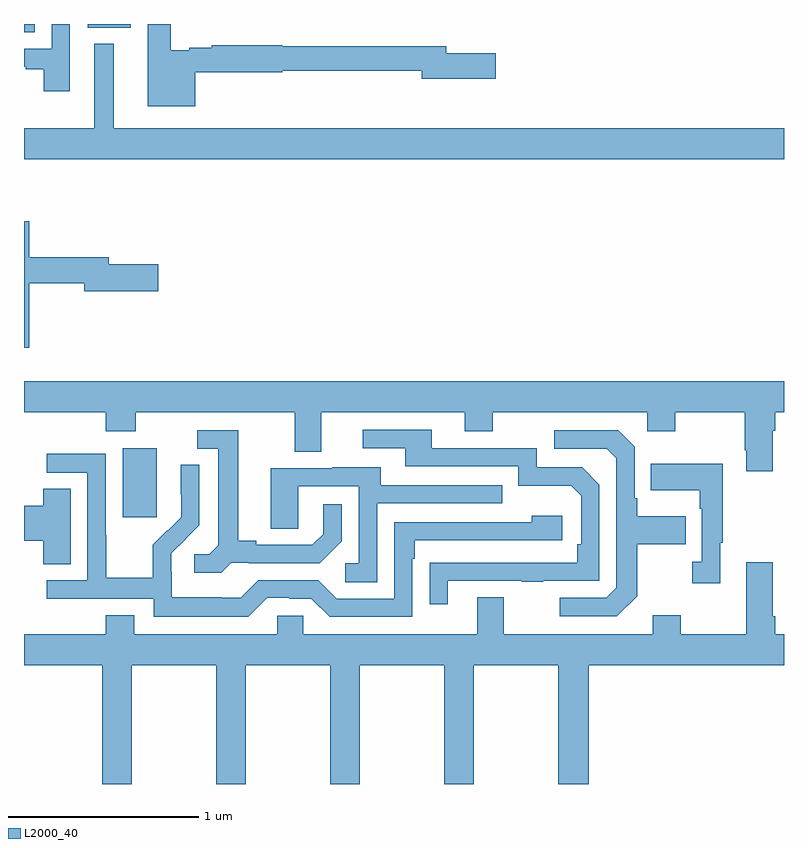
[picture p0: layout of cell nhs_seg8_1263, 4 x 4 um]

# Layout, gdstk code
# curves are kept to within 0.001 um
import gdstk
lib = gdstk.Library(unit=1e-6, precision=1e-09)
def R(c, l, rs):  # rectangles x0, y0, x1, y1
    for r in rs: c.add(gdstk.rectangle(r[:2], r[2:], *l))
def P(c, l, *ps):  # polygons
    for p in ps: c.add(gdstk.Polygon(p, *l))
L2000_40 = (2000, 40)

nhs_seg8_1263 = lib.new_cell('nhs_seg8_1263')
R(nhs_seg8_1263, L2000_40, [(191.519,1093.305,191.698,1093.666), (191,1095.856,191.056,1095.9), (191.336,1095.881,191.563,1095.9)])
P(nhs_seg8_1263, L2000_40, [(191.241,1095.9),(191.145,1095.9),(191.145,1095.771),(191,1095.771),(191,1095.675),(191.009,1095.675),(191.009,1095.663),(191.105,1095.663),(191.105,1095.546),(191.241,1095.546)],
  [(191.902,1095.646),(192.36,1095.646),(192.36,1095.654),(193.094,1095.654),(193.094,1095.611),(193.483,1095.611),(193.483,1095.746),(193.222,1095.746),(193.222,1095.782),(192.36,1095.782),(192.36,1095.788),(191.988,1095.788),(191.988,1095.776),(191.87,1095.776),(191.87,1095.763),(191.773,1095.763),(191.773,1095.9),(191.651,1095.9),(191.651,1095.467),(191.902,1095.467)],
  [(195,1095.352),(191.473,1095.352),(191.473,1095.796),(191.369,1095.796),(191.369,1095.352),(191,1095.352),(191,1095.188),(195,1095.188)],
  [(191.027,1094.536),(191.318,1094.536),(191.318,1094.494),(191.707,1094.494),(191.707,1094.636),(191.446,1094.636),(191.446,1094.672),(191.027,1094.672),(191.027,1094.863),(191,1094.863),(191,1094.196),(191.027,1094.196)],
  [(194.941,1093.76),(194.954,1093.76),(194.954,1093.856),(195,1093.856),(195,1094.02),(191,1094.02),(191,1093.856),(191.429,1093.856),(191.429,1093.757),(191.589,1093.757),(191.589,1093.856),(192.425,1093.856),(192.425,1093.648),(192.565,1093.648),(192.565,1093.856),(193.319,1093.856),(193.319,1093.757),(193.467,1093.757),(193.467,1093.856),(194.28,1093.856),(194.28,1093.757),(194.427,1093.757),(194.427,1093.856),(194.794,1093.856),(194.794,1093.657),(194.801,1093.657),(194.801,1093.545),(194.941,1093.545)],
  [(193.231,1092.969),(193.621,1092.969),(193.621,1092.964),(193.733,1092.964),(193.733,1092.969),(194.028,1092.969),(194.028,1093.476),(193.938,1093.566),(193.698,1093.566),(193.698,1093.668),(193.147,1093.668),(193.147,1093.764),(192.783,1093.764),(192.783,1093.668),(193.007,1093.668),(193.007,1093.572),(193.602,1093.572),(193.602,1093.469),(193.879,1093.469),(193.932,1093.416),(193.932,1093.162),(193.912,1093.162),(193.912,1093.065),(193.135,1093.064),(193.135,1092.846),(193.231,1092.846)],
  [(192.09,1093.065),(192.184,1093.065),(192.184,1093.062),(192.556,1093.062),(192.672,1093.178),(192.672,1093.372),(192.575,1093.372),(192.575,1093.215),(192.518,1093.158),(192.223,1093.158),(192.223,1093.181),(192.127,1093.181),(192.127,1093.761),(191.913,1093.761),(191.913,1093.665),(192.023,1093.665),(192.023,1093.157),(191.976,1093.11),(191.895,1093.11),(191.895,1093.013),(192.038,1093.013)],
  [(194.227,1092.889),(194.227,1093.162),(194.483,1093.162),(194.483,1093.309),(194.227,1093.309),(194.227,1093.405),(194.214,1093.405),(194.214,1093.674),(194.127,1093.761),(193.791,1093.761),(193.791,1093.665),(194.067,1093.665),(194.118,1093.614),(194.118,1092.933),(194.064,1092.879),(193.821,1092.879),(193.821,1092.783),(194.121,1092.783)],
  [(192.279,1092.879),(192.395,1092.879),(192.395,1092.876),(192.513,1092.876),(192.609,1092.78),(193.044,1092.78),(193.044,1093.085),(193.057,1093.085),(193.057,1093.182),(193.834,1093.182),(193.834,1093.312),(193.673,1093.312),(193.673,1093.278),(192.948,1093.278),(192.948,1092.876),(192.645,1092.876),(192.549,1092.972),(192.234,1092.972),(192.141,1092.879),(192.041,1092.879),(192.041,1092.883),(191.778,1092.883),(191.778,1093.017),(191.776,1093.017),(191.776,1093.114),(191.922,1093.262),(191.922,1093.58),(191.826,1093.58),(191.826,1093.426),(191.828,1093.426),(191.828,1093.304),(191.757,1093.233),(191.754,1093.236),(191.677,1093.159),(191.677,1092.985),(191.433,1092.985),(191.433,1093.208),(191.43,1093.208),(191.43,1093.638),(191.121,1093.638),(191.121,1093.539),(191.334,1093.539),(191.334,1092.972),(191.121,1092.972),(191.121,1092.876),(191.682,1092.876),(191.682,1092.779),(192.179,1092.779)],
  [(194.665,1093.169),(194.677,1093.169),(194.677,1093.585),(194.299,1093.585),(194.299,1093.445),(194.556,1093.445),(194.556,1093.349),(194.568,1093.349),(194.568,1093.07),(194.517,1093.07),(194.517,1092.957),(194.665,1092.957)],
  [(192.858,1093.377),(193.517,1093.377),(193.517,1093.473),(192.877,1093.473),(192.877,1093.567),(192.623,1093.567),(192.623,1093.563),(192.299,1093.563),(192.299,1093.243),(192.444,1093.243),(192.444,1093.467),(192.762,1093.467),(192.762,1093.062),(192.69,1093.062),(192.69,1092.961),(192.858,1092.961)],
  [(191.245,1093.454),(191.102,1093.454),(191.102,1093.364),(191,1093.364),(191,1093.181),(191.102,1093.181),(191.102,1093.057),(191.245,1093.057)],
  [(191.568,1092.524),(192.013,1092.524),(192.013,1091.9),(192.168,1091.9),(192.168,1092.524),(192.613,1092.524),(192.613,1091.9),(192.768,1091.9),(192.768,1092.524),(193.213,1092.524),(193.213,1091.9),(193.368,1091.9),(193.368,1092.524),(193.813,1092.524),(193.813,1091.9),(193.973,1091.9),(193.973,1092.524),(195,1092.524),(195,1092.688),(194.954,1092.688),(194.954,1092.784),(194.941,1092.784),(194.941,1093.066),(194.801,1093.066),(194.801,1092.688),(194.457,1092.688),(194.457,1092.787),(194.309,1092.787),(194.309,1092.688),(193.525,1092.688),(193.525,1092.883),(193.385,1092.883),(193.385,1092.688),(192.471,1092.688),(192.471,1092.786),(192.333,1092.786),(192.333,1092.688),(191.581,1092.688),(191.581,1092.787),(191.429,1092.787),(191.429,1092.688),(191,1092.688),(191,1092.524),(191.413,1092.524),(191.413,1091.9),(191.568,1091.9)])

lib.write_gds('nhs_seg8_1263.gds')
